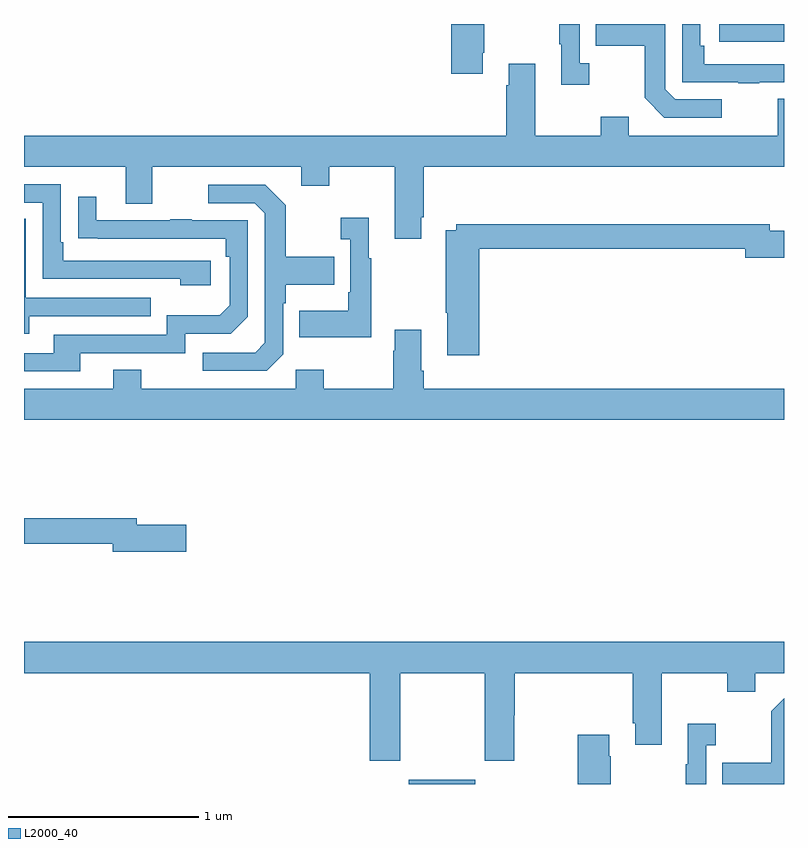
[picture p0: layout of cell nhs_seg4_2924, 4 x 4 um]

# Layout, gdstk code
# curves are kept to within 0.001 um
import gdstk
lib = gdstk.Library(unit=1e-6, precision=1e-09)
def R(c, l, rs):  # rectangles x0, y0, x1, y1
    for r in rs: c.add(gdstk.rectangle(r[:2], r[2:], *l))
def P(c, l, *ps):  # polygons
    for p in ps: c.add(gdstk.Polygon(p, *l))
L2000_40 = (2000, 40)

nhs_seg4_2924 = lib.new_cell('nhs_seg4_2924')
R(nhs_seg4_2924, L2000_40, [(267.026,798.9,267.376,798.922), (268.659,802.806,269,802.9)])
P(nhs_seg4_2924, L2000_40, [(268.871,802.593),(269,802.593),(269,802.689),(268.58,802.689),(268.58,802.786),(268.56,802.786),(268.56,802.9),(268.464,802.9),(268.464,802.593),(268.759,802.593),(268.759,802.588),(268.871,802.588)],
  [(268.672,802.503),(268.428,802.503),(268.374,802.557),(268.374,802.9),(268.009,802.9),(268.009,802.786),(268.266,802.786),(268.266,802.513),(268.371,802.407),(268.672,802.407)],
  [(267.415,802.75),(267.423,802.75),(267.423,802.9),(267.248,802.9),(267.248,802.638),(267.415,802.638)],
  [(267.976,802.694),(267.924,802.694),(267.924,802.9),(267.816,802.9),(267.816,802.793),(267.827,802.793),(267.827,802.581),(267.976,802.581)],
  [(267.091,801.883),(267.104,801.883),(267.104,802.148),(269,802.148),(269,802.507),(268.967,802.507),(268.967,802.312),(268.183,802.312),(268.183,802.411),(268.036,802.411),(268.036,802.312),(267.691,802.312),(267.691,802.69),(267.551,802.69),(267.551,802.577),(267.539,802.577),(267.539,802.312),(265,802.312),(265,802.148),(265.535,802.148),(265.535,801.954),(265.675,801.954),(265.675,802.148),(266.459,802.148),(266.459,802.049),(266.607,802.049),(266.607,802.148),(266.951,802.148),(266.951,801.771),(267.091,801.771)],
  [(265.984,801.654),(265.207,801.654),(265.207,801.751),(265.194,801.751),(265.194,802.056),(265,802.056),(265,801.96),(265.098,801.96),(265.098,801.558),(265.823,801.558),(265.823,801.524),(265.984,801.524)],
  [(266.364,801.162),(266.364,801.431),(266.377,801.431),(266.377,801.527),(266.633,801.527),(266.633,801.675),(266.377,801.675),(266.377,801.947),(266.271,802.053),(265.971,802.053),(265.971,801.957),(266.214,801.957),(266.268,801.903),(266.268,801.222),(266.217,801.171),(265.941,801.171),(265.941,801.075),(266.277,801.075)],
  [(265.297,801.168),(265.848,801.168),(265.848,801.27),(266.088,801.27),(266.178,801.36),(266.178,801.867),(265.883,801.867),(265.883,801.872),(265.771,801.872),(265.771,801.867),(265.381,801.867),(265.381,801.991),(265.285,801.991),(265.285,801.772),(266.062,801.771),(266.062,801.674),(266.082,801.674),(266.082,801.42),(266.029,801.367),(265.752,801.367),(265.752,801.264),(265.157,801.264),(265.157,801.168),(265,801.168),(265,801.072),(265.297,801.072)],
  [(266.827,801.667),(266.815,801.667),(266.815,801.88),(266.667,801.88),(266.667,801.767),(266.718,801.767),(266.718,801.487),(266.706,801.487),(266.706,801.391),(266.449,801.391),(266.449,801.251),(266.827,801.251)],
  [(265.027,801.363),(265.667,801.363),(265.667,801.459),(265.008,801.459),(265.008,801.875),(265,801.875),(265,801.269),(265.027,801.269)],
  [(267.395,801.718),(268.796,801.718),(268.796,801.671),(269,801.671),(269,801.813),(268.924,801.813),(268.924,801.847),(267.276,801.847),(267.276,801.814),(267.22,801.814),(267.22,801.379),(267.227,801.379),(267.227,801.156),(267.395,801.156)],
  [(269,800.98),(267.104,800.98),(267.104,801.076),(267.091,801.076),(267.091,801.292),(266.951,801.292),(266.951,801.179),(266.944,801.179),(266.944,800.98),(266.577,800.98),(266.577,801.079),(266.43,801.079),(266.43,800.98),(265.617,800.98),(265.617,801.079),(265.469,801.079),(265.469,800.98),(265,800.98),(265,800.816),(269,800.816)],
  [(265.855,800.264),(265.594,800.264),(265.594,800.3),(265,800.3),(265,800.164),(265.466,800.164),(265.466,800.122),(265.855,800.122)],
  [(266.979,799.484),(267.424,799.484),(267.424,799.023),(267.579,799.023),(267.579,799.262),(267.584,799.262),(267.584,799.484),(268.205,799.484),(268.205,799.219),(268.217,799.219),(268.217,799.107),(268.357,799.107),(268.357,799.484),(268.702,799.484),(268.702,799.385),(268.849,799.385),(268.849,799.484),(269,799.484),(269,799.648),(265,799.648),(265,799.484),(266.819,799.484),(266.819,799.023),(266.979,799.023)],
  [(269,799.352),(268.932,799.283),(268.932,799.011),(268.675,799.011),(268.675,798.9),(269,798.9)],
  [(268.59,799.103),(268.642,799.103),(268.642,799.216),(268.493,799.216),(268.493,799.003),(268.482,799.003),(268.482,798.9),(268.59,798.9)],
  [(268.089,799.046),(268.081,799.046),(268.081,799.159),(267.914,799.159),(267.914,798.9),(268.089,798.9)])

lib.write_gds('nhs_seg4_2924.gds')
